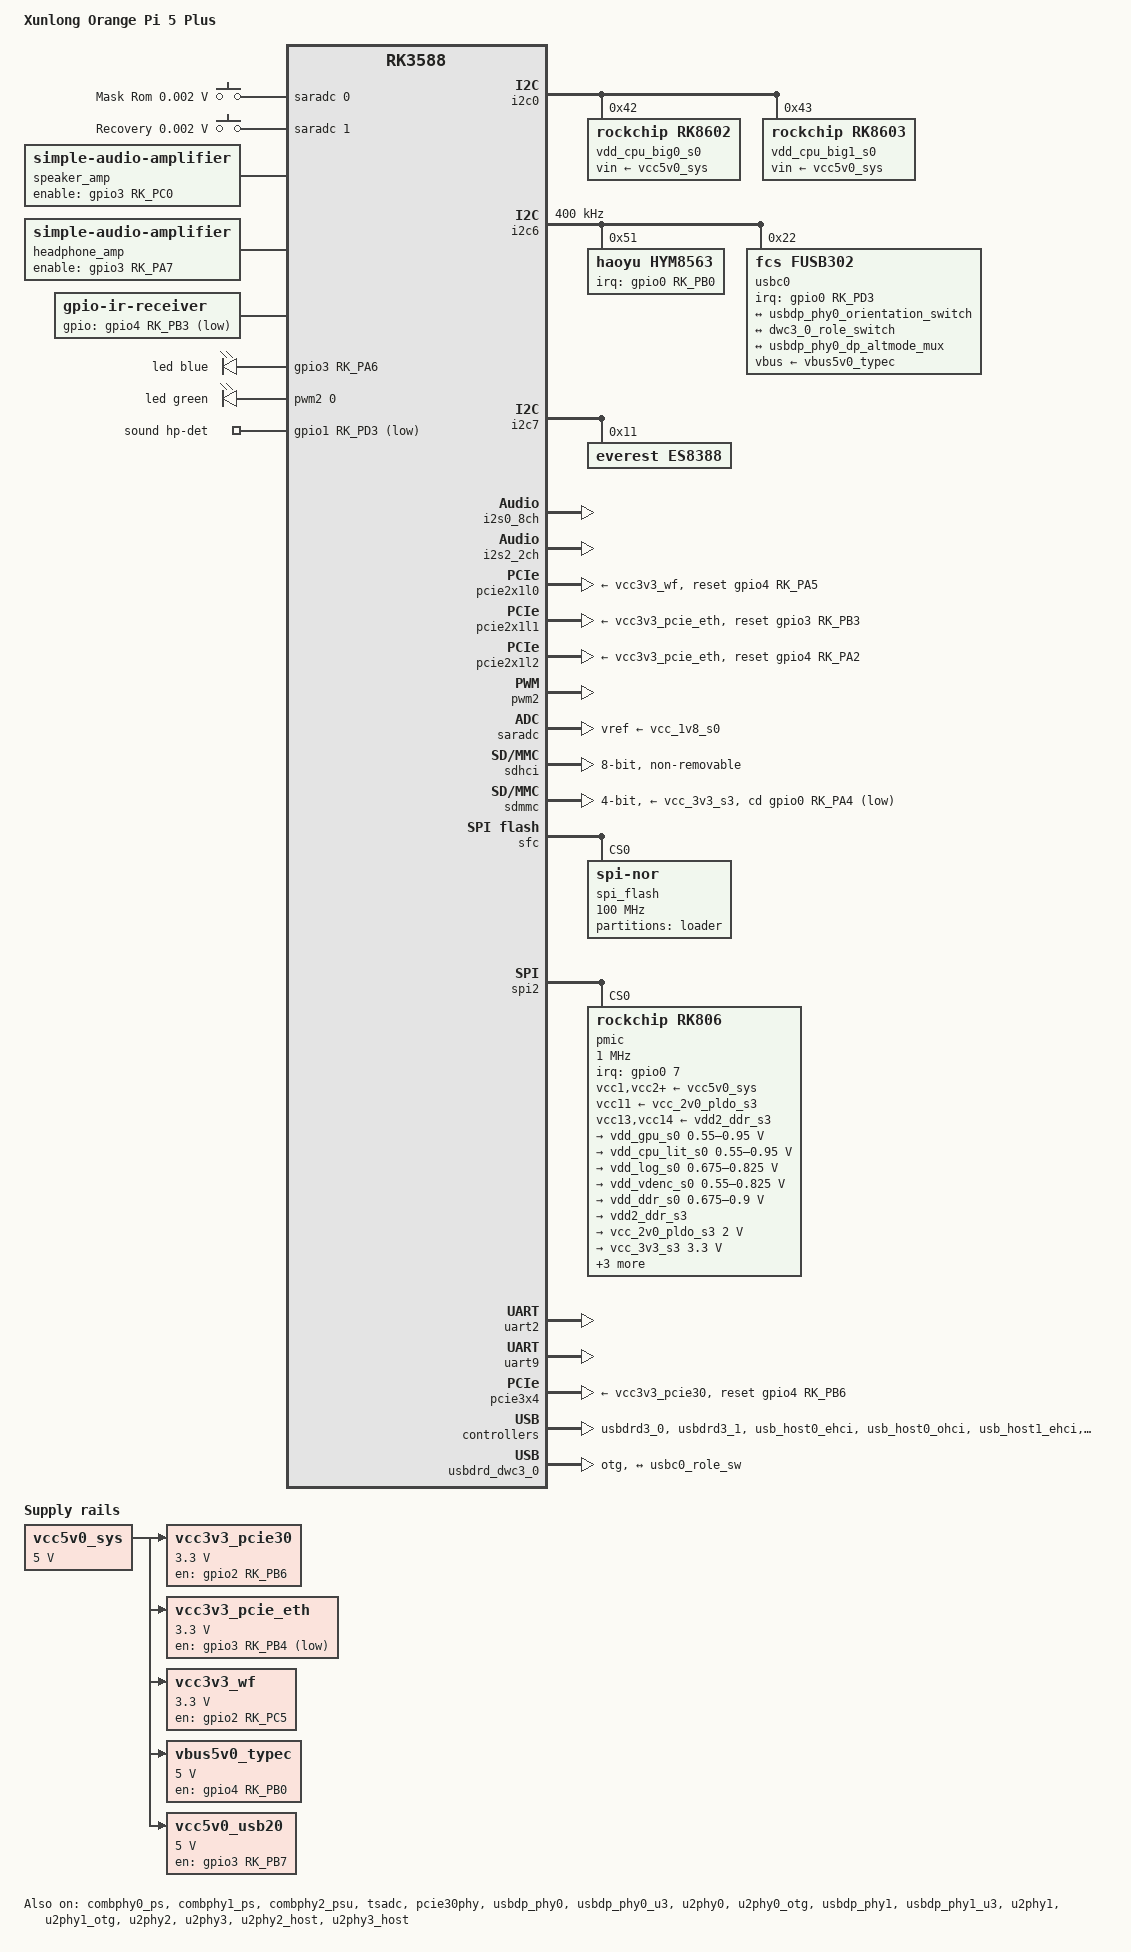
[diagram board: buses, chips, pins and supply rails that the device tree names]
// SPDX-License-Identifier: (GPL-2.0+ OR MIT)
/*
 * Copyright (c) 2023 Ondřej Jirman <megi@xff.cz>
 */

/dts-v1/;

#include <dt-bindings/gpio/gpio.h>
#include <dt-bindings/pinctrl/rockchip.h>
#include <dt-bindings/leds/common.h>
#include <dt-bindings/input/input.h>
#include <dt-bindings/usb/pd.h>
#include "rk3588.dtsi"

/ {
	model = "Xunlong Orange Pi 5 Plus";
	compatible = "xunlong,orangepi-5-plus", "rockchip,rk3588";

	aliases {
		mmc0 = &sdhci;
		mmc1 = &sdmmc;
		serial2 = &uart2;
	};

	chosen {
		stdout-path = "serial2:1500000n8";
	};

	adc-keys-0 {
		compatible = "adc-keys";
		io-channels = <&saradc 0>;
		io-channel-names = "buttons";
		keyup-threshold-microvolt = <1800000>;
		poll-interval = <100>;

		maskrom-key {
			linux,code = <KEY_SETUP>;
			label = "Mask Rom";
			press-threshold-microvolt = <2000>;
		};
	};

	adc-keys-1 {
		compatible = "adc-keys";
		io-channels = <&saradc 1>;
		io-channel-names = "buttons";
		keyup-threshold-microvolt = <1800000>;
		poll-interval = <100>;

		recovery-key {
			linux,code = <KEY_VENDOR>;
			label = "Recovery";
			press-threshold-microvolt = <2000>;
		};
	};

	speaker_amp: speaker-audio-amplifier {
		compatible = "simple-audio-amplifier";
		enable-gpios = <&gpio3 RK_PC0 GPIO_ACTIVE_HIGH>;
		sound-name-prefix = "Speaker Amp";
	};

	headphone_amp: headphones-audio-amplifier {
		compatible = "simple-audio-amplifier";
		enable-gpios = <&gpio3 RK_PA7 GPIO_ACTIVE_HIGH>;
		sound-name-prefix = "Headphones Amp";
	};

	/*XXX: fan */
	/* GPIO3 B2, active high, PWM3_IR_M1 */

	ir-receiver {
		compatible = "gpio-ir-receiver";
		gpios = <&gpio4 RK_PB3 GPIO_ACTIVE_LOW>;
		pinctrl-names = "default";
		pinctrl-0 = <&ir_receiver_pin>;
	};

	gpio-leds {
		compatible = "gpio-leds";
		pinctrl-names = "default";
		pinctrl-0 = <&blue_led_pin>;

		led {
			color = <LED_COLOR_ID_BLUE>;
			function = LED_FUNCTION_INDICATOR;
			gpios = <&gpio3 RK_PA6 GPIO_ACTIVE_HIGH>;
		};
	};

	pwm-leds {
                compatible = "pwm-leds";

                led {
                        color = <LED_COLOR_ID_GREEN>;
                        function = LED_FUNCTION_INDICATOR;
                        max-brightness = <255>;
                        pwms = <&pwm2 0 25000 0>;
                };
        };

	sound {
		compatible = "simple-audio-card";
		pinctrl-names = "default";
		pinctrl-0 = <&hp_detect>;
		simple-audio-card,name = "Analog";
		simple-audio-card,aux-devs = <&speaker_amp>, <&headphone_amp>;
		simple-audio-card,format = "i2s";
		simple-audio-card,mclk-fs = <256>;
		simple-audio-card,hp-det-gpio = <&gpio1 RK_PD3 GPIO_ACTIVE_LOW>;
	        simple-audio-card,bitclock-master = <&daicpu>;
        	simple-audio-card,frame-master = <&daicpu>;
        	/*TODO: SARADC_IN3 is used as MIC detection / key input */

		simple-audio-card,widgets =
			"Microphone", "Onboard Microphone",
			"Microphone", "Microphone Jack",
			"Speaker", "Speaker",
			"Headphone", "Headphones";

		simple-audio-card,routing =
			"Headphones", "LOUT1",
			"Headphones", "ROUT1",
			"Speaker", "LOUT2",
			"Speaker", "ROUT2",

			"Headphones", "Headphones Amp OUTL",
			"Headphones", "Headphones Amp OUTR",
			"Headphones Amp INL", "LOUT1",
			"Headphones Amp INR", "ROUT1",

			"Speaker", "Speaker Amp OUTL",
			"Speaker", "Speaker Amp OUTR",
			"Speaker Amp INL", "LOUT2",
			"Speaker Amp INR", "ROUT2",

			/* single ended signal to LINPUT1 */
			"LINPUT1", "Microphone Jack",
			"RINPUT1", "Microphone Jack",
			/* differential signal */
			"LINPUT2", "Onboard Microphone",
			"RINPUT2", "Onboard Microphone";

		daicpu: simple-audio-card,cpu {
			sound-dai = <&i2s0_8ch>;
			system-clock-frequency = <12288000>;
		};

		daicodec: simple-audio-card,codec {
			sound-dai = <&es8388>;
			system-clock-frequency = <12288000>;
		};
	};

	vcc3v3_pcie30: vcc3v3-pcie30 {
		compatible = "regulator-fixed";
		regulator-name = "vcc3v3_pcie30";
		regulator-min-microvolt = <3300000>;
		regulator-max-microvolt = <3300000>;
		enable-active-high;
		gpios = <&gpio2 RK_PB6 GPIO_ACTIVE_HIGH>;
		startup-delay-us = <5000>;
		vin-supply = <&vcc5v0_sys>;
	};

	vcc3v3_pcie_eth: vcc3v3-pcie-eth {
		compatible = "regulator-fixed";
		regulator-name = "vcc3v3_pcie_eth";
		regulator-min-microvolt = <3300000>;
		regulator-max-microvolt = <3300000>;
		gpios = <&gpio3 RK_PB4 GPIO_ACTIVE_LOW>;
		startup-delay-us = <50000>;
		vin-supply = <&vcc5v0_sys>;
	};

	vcc3v3_wf: vcc3v3-wf {
		compatible = "regulator-fixed";
		regulator-name = "vcc3v3_wf";
		regulator-min-microvolt = <3300000>;
		regulator-max-microvolt = <3300000>;
		enable-active-high;
		gpios = <&gpio2 RK_PC5 GPIO_ACTIVE_HIGH>;
		startup-delay-us = <50000>;
		vin-supply = <&vcc5v0_sys>;
	};

	vcc5v0_sys: vcc5v0-sys-regulator {
		compatible = "regulator-fixed";
		regulator-name = "vcc5v0_sys";
		regulator-always-on;
		regulator-boot-on;
		regulator-min-microvolt = <5000000>;
		regulator-max-microvolt = <5000000>;
	};
};

&combphy0_ps {
	status = "okay";
};

&combphy1_ps {
	status = "okay";
};

&combphy2_psu {
	status = "okay";
};

&cpu_b0 {
	cpu-supply = <&vdd_cpu_big0_s0>;
	mem-supply = <&vdd_cpu_big0_mem_s0>;
};

&cpu_b1 {
	cpu-supply = <&vdd_cpu_big0_s0>;
	mem-supply = <&vdd_cpu_big0_mem_s0>;
};

&cpu_b2 {
	cpu-supply = <&vdd_cpu_big1_s0>;
	mem-supply = <&vdd_cpu_big1_mem_s0>;
};

&cpu_b3 {
	cpu-supply = <&vdd_cpu_big1_s0>;
	mem-supply = <&vdd_cpu_big1_mem_s0>;
};

&cpu_l0 {
	cpu-supply = <&vdd_cpu_lit_s0>;
	mem-supply = <&vdd_cpu_lit_mem_s0>;
};

&cpu_l1 {
	cpu-supply = <&vdd_cpu_lit_s0>;
	mem-supply = <&vdd_cpu_lit_mem_s0>;
};

&cpu_l2 {
	cpu-supply = <&vdd_cpu_lit_s0>;
	mem-supply = <&vdd_cpu_lit_mem_s0>;
};

&cpu_l3 {
	cpu-supply = <&vdd_cpu_lit_s0>;
	mem-supply = <&vdd_cpu_lit_mem_s0>;
};

&i2c0 {
	pinctrl-names = "default";
	pinctrl-0 = <&i2c0m2_xfer>;
	status = "okay";

	vdd_cpu_big0_s0: vdd_cpu_big0_mem_s0: regulator@42 {
		compatible = "rockchip,rk8602";
		reg = <0x42>;
		fcs,suspend-voltage-selector = <1>;
		regulator-name = "vdd_cpu_big0_s0";
		regulator-always-on;
		regulator-boot-on;
		regulator-min-microvolt = <550000>;
		regulator-max-microvolt = <1050000>;
		regulator-ramp-delay = <2300>;
		vin-supply = <&vcc5v0_sys>;

		regulator-state-mem {
			regulator-off-in-suspend;
		};
	};

	vdd_cpu_big1_s0: vdd_cpu_big1_mem_s0: regulator@43 {
		compatible = "rockchip,rk8603", "rockchip,rk8602";
		reg = <0x43>;
		fcs,suspend-voltage-selector = <1>;
		regulator-name = "vdd_cpu_big1_s0";
		regulator-always-on;
		regulator-boot-on;
		regulator-min-microvolt = <550000>;
		regulator-max-microvolt = <1050000>;
		regulator-ramp-delay = <2300>;
		vin-supply = <&vcc5v0_sys>;

		regulator-state-mem {
			regulator-off-in-suspend;
		};
	};
};

&i2c6 {
	clock-frequency = <400000>;
	status = "okay";
	
	hym8563: rtc@51 {
		compatible = "haoyu,hym8563";
		reg = <0x51>;
		#clock-cells = <0>;
		clock-output-names = "hym8563";
		pinctrl-names = "default";
		pinctrl-0 = <&hym8563_int>;
		interrupt-parent = <&gpio0>;
		interrupts = <RK_PB0 IRQ_TYPE_LEVEL_LOW>;
		wakeup-source;
	};
};

&i2c7 {
	status = "okay";
	/* PLDO2 vcca 1.8V, BUCK8 gated by PLDO2 being enabled */
	es8388: audio-codec@11 {
		compatible = "everest,es8388";
		reg = <0x11>;
		clocks = <&cru I2S0_8CH_MCLKOUT>;
		clock-names = "mclk";
		assigned-clocks = <&cru I2S0_8CH_MCLKOUT>;
		assigned-clock-rates = <12288000>;
		#sound-dai-cells = <0>;
	};
};

&i2s0_8ch {
	pinctrl-names = "default";
	pinctrl-0 = <&i2s0_lrck
		     &i2s0_mclk
		     &i2s0_sclk
		     &i2s0_sdi0
		     &i2s0_sdo0>;
	status = "okay";
};

&i2s2_2ch {
	pinctrl-names = "default";
	pinctrl-0 = <&i2s2m0_lrck
		     &i2s2m0_sclk
		     &i2s2m0_sdi
		     &i2s2m0_sdo>;
	status = "okay";
};

/* phy1 - M.KEY socket */
&pcie2x1l0 {
	reset-gpios = <&gpio4 RK_PA5 GPIO_ACTIVE_HIGH>;
	vpcie3v3-supply = <&vcc3v3_wf>;
	status = "okay";
};

/* phy2 - right ethernet port */
&pcie2x1l1 {
	reset-gpios = <&gpio3 RK_PB3 GPIO_ACTIVE_HIGH>;
	vpcie3v3-supply = <&vcc3v3_pcie_eth>;
	status = "okay";
};

/* phy0 - left ethernet port */
&pcie2x1l2 {
	reset-gpios = <&gpio4 RK_PA2 GPIO_ACTIVE_HIGH>;
	vpcie3v3-supply = <&vcc3v3_pcie_eth>;
	status = "okay";
};

&pinctrl {
	leds {
		blue_led_pin: blue-led {
		        rockchip,pins = <3 RK_PA6 RK_FUNC_GPIO &pcfg_pull_up>;
		};
	};

	hym8563 {
		hym8563_int: hym8563-int {
			rockchip,pins = <0 RK_PB0 RK_FUNC_GPIO &pcfg_pull_none>;
		};
	};

	sound {
		hp_detect: hp-detect {
			rockchip,pins = <1 RK_PD3 RK_FUNC_GPIO &pcfg_pull_none>;
		};
	};

	ir-receiver {
		ir_receiver_pin: ir-receiver-pin {
			rockchip,pins = <4 RK_PB3 RK_FUNC_GPIO &pcfg_pull_none>;
		};
	};
};

&pwm2 {
	status = "okay";
	pinctrl-0 = <&pwm2m1_pins>;
	pinctrl-names = "default";
};

&saradc {
	status = "okay";
	vref-supply = <&vcc_1v8_s0>;
};

&sdhci {
	bus-width = <8>;
	no-sdio;
	no-sd;
	non-removable;
	max-frequency = <200000000>;
	mmc-hs400-1_8v;
	mmc-hs400-enhanced-strobe;
	status = "okay";
};

&sdmmc {
	bus-width = <4>;
	cap-sd-highspeed;
	cd-gpios = <&gpio0 RK_PA4 GPIO_ACTIVE_LOW>;
	disable-wp;
	max-frequency = <150000000>;
	no-sdio;
	no-mmc;
	sd-uhs-sdr104;
	vmmc-supply = <&vcc_3v3_s3>;
	vqmmc-supply = <&vccio_sd_s0>;
	status = "okay";
};

&sfc {
	max-freq = <100000000>;
	pinctrl-names = "default";
	pinctrl-0 = <&fspim1_pins>;
	#address-cells = <1>;
	#size-cells = <0>;
	status = "okay";

	spi_flash: spi-flash@0 {
		#address-cells = <1>;
		#size-cells = <0>;
		compatible = "jedec,spi-nor";
		reg = <0x0>;
		spi-max-frequency = <100000000>;
		spi-tx-bus-width = <1>;
		spi-rx-bus-width = <4>;

		partitions {
			compatible = "fixed-partitions";
			#address-cells = <1>;
			#size-cells = <1>;

			loader@0 {
				label = "loader";
				reg = <0x0 0x1000000>;
			};
		};
	};
};

&spi2 {
	status = "okay";
	assigned-clocks = <&cru CLK_SPI2>;
	assigned-clock-rates = <200000000>;
	pinctrl-names = "default";
	pinctrl-0 = <&spi2m2_cs0 &spi2m2_pins>;
	num-cs = <1>;

	pmic@0 {
		compatible = "rockchip,rk806";
		spi-max-frequency = <1000000>;
		reg = <0x0>;

		interrupt-parent = <&gpio0>;
		interrupts = <7 IRQ_TYPE_LEVEL_LOW>;

		pinctrl-names = "default";
		pinctrl-0 = <&pmic_pins>, <&rk806_dvs1_null>,
			    <&rk806_dvs2_null>, <&rk806_dvs3_null>;

		vcc1-supply = <&vcc5v0_sys>;
		vcc2-supply = <&vcc5v0_sys>;
		vcc3-supply = <&vcc5v0_sys>;
		vcc4-supply = <&vcc5v0_sys>;
		vcc5-supply = <&vcc5v0_sys>;
		vcc6-supply = <&vcc5v0_sys>;
		vcc7-supply = <&vcc5v0_sys>;
		vcc8-supply = <&vcc5v0_sys>;
		vcc9-supply = <&vcc5v0_sys>;
		vcc10-supply = <&vcc5v0_sys>;
		vcc11-supply = <&vcc_2v0_pldo_s3>;
		vcc12-supply = <&vcc5v0_sys>;
		vcc13-supply = <&vdd2_ddr_s3>;
		vcc14-supply = <&vdd2_ddr_s3>;
		vcca-supply = <&vcc5v0_sys>;

		gpio-controller;
		#gpio-cells = <2>;
		
		rockchip,system-power-controller;

		rk806_dvs1_null: dvs1-null-pins {
			pins = "gpio_pwrctrl2";
			function = "pin_fun0";
		};

		rk806_dvs2_null: dvs2-null-pins {
			pins = "gpio_pwrctrl2";
			function = "pin_fun0";
		};

		rk806_dvs3_null: dvs3-null-pins {
			pins = "gpio_pwrctrl3";
			function = "pin_fun0";
		};

		regulators {
			vdd_gpu_s0: vdd_gpu_mem_s0: dcdc-reg1 {
				regulator-boot-on;
				regulator-min-microvolt = <550000>;
				regulator-max-microvolt = <950000>;
				regulator-ramp-delay = <12500>;
				regulator-name = "vdd_gpu_s0";
				regulator-enable-ramp-delay = <400>;

				regulator-state-mem {
					regulator-off-in-suspend;
				};
			};

			vdd_cpu_lit_s0: vdd_cpu_lit_mem_s0: dcdc-reg2 {
				regulator-always-on;
				regulator-boot-on;
				regulator-min-microvolt = <550000>;
				regulator-max-microvolt = <950000>;
				regulator-ramp-delay = <12500>;
				regulator-name = "vdd_cpu_lit_s0";

				regulator-state-mem {
					regulator-off-in-suspend;
				};
			};

			vdd_log_s0: dcdc-reg3 {
				regulator-always-on;
				regulator-boot-on;
				regulator-min-microvolt = <675000>;
				regulator-max-microvolt = <825000>;
				regulator-init-microvolt = <750000>;
				regulator-ramp-delay = <12500>;
				regulator-name = "vdd_log_s0";

				regulator-state-mem {
					regulator-off-in-suspend;
					regulator-suspend-microvolt = <750000>;
				};
			};

			vdd_vdenc_s0: vdd_vdenc_mem_s0: dcdc-reg4 {
				regulator-always-on;
				regulator-boot-on;
				regulator-min-microvolt = <550000>;
				regulator-max-microvolt = <825000>;
				regulator-init-microvolt = <775000>;
				regulator-ramp-delay = <12500>;
				regulator-name = "vdd_vdenc_s0";

				regulator-state-mem {
					regulator-off-in-suspend;
				};
			};

			vdd_ddr_s0: dcdc-reg5 {
				regulator-always-on;
				regulator-boot-on;
				regulator-min-microvolt = <675000>;
				regulator-max-microvolt = <900000>;
				regulator-init-microvolt = <850000>;
				regulator-ramp-delay = <12500>;
				regulator-name = "vdd_ddr_s0";

				regulator-state-mem {
					regulator-off-in-suspend;
					regulator-suspend-microvolt = <850000>;
				};
			};

			vdd2_ddr_s3: dcdc-reg6 {
				regulator-always-on;
				regulator-boot-on;
				regulator-name = "vdd2_ddr_s3";

				regulator-state-mem {
					regulator-on-in-suspend;
				};
			};

			vcc_2v0_pldo_s3: dcdc-reg7 {
				regulator-always-on;
				regulator-boot-on;
				regulator-min-microvolt = <2000000>;
				regulator-max-microvolt = <2000000>;
				regulator-ramp-delay = <12500>;
				regulator-name = "vdd_2v0_pldo_s3";

				regulator-state-mem {
					regulator-on-in-suspend;
					regulator-suspend-microvolt = <2000000>;
				};
			};

			vcc_3v3_s3: dcdc-reg8 {
				regulator-always-on;
				regulator-boot-on;
				regulator-min-microvolt = <3300000>;
				regulator-max-microvolt = <3300000>;
				regulator-name = "vcc_3v3_s3";

				regulator-state-mem {
					regulator-on-in-suspend;
					regulator-suspend-microvolt = <3300000>;
				};
			};

			vddq_ddr_s0: dcdc-reg9 {
				regulator-always-on;
				regulator-boot-on;
				regulator-name = "vddq_ddr_s0";

				regulator-state-mem {
					regulator-off-in-suspend;
				};
			};

			vcc_1v8_s3: dcdc-reg10 {
				regulator-always-on;
				regulator-boot-on;
				regulator-min-microvolt = <1800000>;
				regulator-max-microvolt = <1800000>;
				regulator-name = "vcc_1v8_s3";

				regulator-state-mem {
					regulator-on-in-suspend;
					regulator-suspend-microvolt = <1800000>;
				};
			};

			avcc_1v8_s0: pldo-reg1 {
				regulator-always-on;
				regulator-boot-on;
				regulator-min-microvolt = <1800000>;
				regulator-max-microvolt = <1800000>;
				regulator-name = "avcc_1v8_s0";

				regulator-state-mem {
					regulator-off-in-suspend;
				};
			};

			vcc_1v8_s0: pldo-reg2 {
				regulator-always-on;
				regulator-boot-on;
				regulator-min-microvolt = <1800000>;
				regulator-max-microvolt = <1800000>;
				regulator-name = "vcc_1v8_s0";

				regulator-state-mem {
					regulator-off-in-suspend;
					regulator-suspend-microvolt = <1800000>;
				};
			};

			avdd_1v2_s0: pldo-reg3 {
				regulator-always-on;
				regulator-boot-on;
				regulator-min-microvolt = <1200000>;
				regulator-max-microvolt = <1200000>;
				regulator-name = "avdd_1v2_s0";

				regulator-state-mem {
					regulator-off-in-suspend;
				};
			};

			vcc_3v3_s0: pldo-reg4 {
				regulator-always-on;
				regulator-boot-on;
				regulator-min-microvolt = <3300000>;
				regulator-max-microvolt = <3300000>;
				regulator-ramp-delay = <12500>;
				regulator-name = "vcc_3v3_s0";

				regulator-state-mem {
					regulator-off-in-suspend;
				};
			};

			vccio_sd_s0: pldo-reg5 {
				regulator-always-on;
				regulator-boot-on;
				regulator-min-microvolt = <1800000>;
				regulator-max-microvolt = <3300000>;
				regulator-ramp-delay = <12500>;
				regulator-name = "vccio_sd_s0";

				regulator-state-mem {
					regulator-off-in-suspend;
				};
			};

			/*XXX: missing? */
			pldo6_s3: pldo-reg6 {
				regulator-always-on;
				regulator-boot-on;
				regulator-min-microvolt = <1800000>;
				regulator-max-microvolt = <1800000>;
				regulator-name = "pldo6_s3";

				regulator-state-mem {
					regulator-on-in-suspend;
					regulator-suspend-microvolt = <1800000>;
				};
			};

			vdd_0v75_s3: nldo-reg1 {
				regulator-always-on;
				regulator-boot-on;
				regulator-min-microvolt = <750000>;
				regulator-max-microvolt = <750000>;
				regulator-name = "vdd_0v75_s3";

				regulator-state-mem {
					regulator-on-in-suspend;
					regulator-suspend-microvolt = <750000>;
				};
			};

			vdd_ddr_pll_s0: nldo-reg2 {
				regulator-always-on;
				regulator-boot-on;
				regulator-min-microvolt = <850000>;
				regulator-max-microvolt = <850000>;
				regulator-name = "vdd_ddr_pll_s0";

				regulator-state-mem {
					regulator-off-in-suspend;
					regulator-suspend-microvolt = <850000>;
				};
			};

			avdd_0v75_s0: nldo-reg3 {
				regulator-always-on;
				regulator-boot-on;
				/*
				 * The schematic mentions that actual setting
				 * should be 0.8375V. RK3588 datasheet specifies
				 * maximum as 0.825V. So we set datasheet max
				 * here.
				 */
				regulator-min-microvolt = <825000>;
				regulator-max-microvolt = <825000>;
				regulator-name = "avdd_0v75_s0";

				regulator-state-mem {
					regulator-off-in-suspend;
				};
			};

			vdd_0v85_s0: nldo-reg4 {
				regulator-always-on;
				regulator-boot-on;
				regulator-min-microvolt = <850000>;
				regulator-max-microvolt = <850000>;
				regulator-name = "vdd_0v85_s0";

				regulator-state-mem {
					regulator-off-in-suspend;
				};
			};

			vdd_0v75_s0: nldo-reg5 {
				regulator-always-on;
				regulator-boot-on;
				regulator-min-microvolt = <750000>;
				regulator-max-microvolt = <750000>;
				regulator-name = "vdd_0v75_s0";

				regulator-state-mem {
					regulator-off-in-suspend;
				};
			};
		};
	};
};

&tsadc {
	status = "okay";
};

&uart2 {
	pinctrl-0 = <&uart2m0_xfer>;
	status = "okay";
};

&uart9 {
	pinctrl-0 = <&uart9m0_xfer>;
	status = "okay";
};

/* PCIe 3.0 */

&pcie30phy {
	status = "okay";
};

&pcie3x4 {
	reset-gpios = <&gpio4 RK_PB6 GPIO_ACTIVE_HIGH>;
	vpcie3v3-supply = <&vcc3v3_pcie30>;
	status = "okay";
};

/* USB 3.0 Type-C port */

/ {

        vbus5v0_typec: vbus5v0-typec {
                compatible = "regulator-fixed";
                regulator-name = "vbus5v0_typec";
                regulator-min-microvolt = <5000000>;
                regulator-max-microvolt = <5000000>;
                enable-active-high;
                gpio = <&gpio4 RK_PB0 GPIO_ACTIVE_HIGH>;
                pinctrl-names = "default";
                pinctrl-0 = <&typec5v_pwren>;
                vin-supply = <&vcc5v0_sys>;
        };
};

&usbdp_phy0 {
	orientation-switch;
	mode-switch;
	sbu1-dc-gpios = <&gpio4 RK_PA6 GPIO_ACTIVE_HIGH>;
	sbu2-dc-gpios = <&gpio4 RK_PA7 GPIO_ACTIVE_HIGH>;
	status = "okay";
        svid = <0xff01>;

	port {
		#address-cells = <1>;
		#size-cells = <0>;

		usbdp_phy0_orientation_switch: endpoint@0 {
			reg = <0>;
			remote-endpoint = <&usbc0_orien_sw>;
		};

		usbdp_phy0_dp_altmode_mux: endpoint@1 {
			reg = <1>;
			remote-endpoint = <&dp_altmode_mux>;
		};
	};
};

&usbdp_phy0_u3 {
	status = "okay";
};

&usbdrd3_0 {
	status = "okay";
};

&usbdrd_dwc3_0 {
	dr_mode = "otg";
	usb-role-switch;

	port {
		#address-cells = <1>;
		#size-cells = <0>;
		dwc3_0_role_switch: endpoint@0 {
			reg = <0>;
			remote-endpoint = <&usbc0_role_sw>;
		};
	};
};

&u2phy0 {
	status = "okay";
};

&u2phy0_otg {
	status = "okay";
};

&i2c6 {
	usbc0: usb-typec@22 {
		compatible = "fcs,fusb302";
		reg = <0x22>;
                interrupt-parent = <&gpio0>;
                interrupts = <RK_PD3 IRQ_TYPE_LEVEL_LOW>;
		pinctrl-names = "default";
		pinctrl-0 = <&usbc0_int>;
		vbus-supply = <&vbus5v0_typec>;

		usb_con: connector {
			compatible = "usb-c-connector";
			label = "USB-C";
			data-role = "dual";
			power-role = "dual";
			try-power-role = "source";
			op-sink-microwatt = <1000000>;
			sink-pdos = <PDO_FIXED(5000, 2000, PDO_FIXED_USB_COMM)>;
			source-pdos = <PDO_FIXED(5000, 1500, PDO_FIXED_USB_COMM)>;

			/*
			altmodes {
                                #address-cells = <1>;
                                #size-cells = <0>;

                                altmode@0 {
                                        reg = <0>;
                                        svid = <0xff01>;
                                        vdo = <0xffffffff>; // yeah, no, this is nonsense
                                };
                        };
                        */

			ports {
				#address-cells = <1>;
				#size-cells = <0>;

				port@0 {
					reg = <0>;
					usbc0_orien_sw: endpoint {
						remote-endpoint = <&usbdp_phy0_orientation_switch>;
					};
				};

				port@1 {
					reg = <1>;
					usbc0_role_sw: endpoint {
						remote-endpoint = <&dwc3_0_role_switch>;
					};
				};

				port@2 {
					reg = <2>;
					dp_altmode_mux: endpoint {
						remote-endpoint = <&usbdp_phy0_dp_altmode_mux>;
					};
				};
			};
		};
	};
};

/* USB 3.0 A ports */

&usbdp_phy1 {
	//XXX: there's no DP on this port, so maybe this is not needed?
	//rockchip,dp-lane-mux = <2 3>;
	status = "okay";
};

&usbdp_phy1_u3 {
	status = "okay";
};

&usbdrd3_1 {
	status = "okay";
};

&u2phy1 {
	status = "okay";
};

&u2phy1_otg {
	status = "okay";
};

/* USB2.0 A ports */

/ {
	vcc5v0_usb20: vcc5v0-usb20 {
		compatible = "regulator-fixed";
		regulator-name = "vcc5v0_usb20";
		regulator-min-microvolt = <5000000>;
		regulator-max-microvolt = <5000000>;
		enable-active-high;
		gpio = <&gpio3 RK_PB7 GPIO_ACTIVE_HIGH>;
		pinctrl-names = "default";
		pinctrl-0 = <&vcc5v0_usb20_en>;
		vin-supply = <&vcc5v0_sys>;
	};
};

&u2phy2 {
	status = "okay";
};

&u2phy3 {
	status = "okay";
};

&u2phy2_host {
	phy-supply = <&vcc5v0_usb20>;
	status = "okay";
};

&u2phy3_host {
	phy-supply = <&vcc5v0_usb20>;
	status = "okay";
};

&usb_host0_ehci {
	status = "okay";
};

&usb_host0_ohci {
	status = "okay";
};

&usb_host1_ehci {
	status = "okay";
};

&usb_host1_ohci {
	status = "okay";
};

&pinctrl {
	usb {
		vcc5v0_usb20_en: vcc5v0-usb20-en {
			rockchip,pins = <3 RK_PB7 RK_FUNC_GPIO &pcfg_pull_none>;
		};
	};

        usb-typec {
                usbc0_int: usbc0-int {
                        rockchip,pins = <0 RK_PD3 RK_FUNC_GPIO &pcfg_pull_up>;
                };

                typec5v_pwren: typec5v-pwren {
                        rockchip,pins = <4 RK_PB0 RK_FUNC_GPIO &pcfg_pull_none>;
                };
        };
};

/* unused */

		/*
		rk806_dvs1_slp: rk806_dvs1_slp {
			pins = "gpio_pwrctrl1";
			function = "pin_fun1";
		};

		rk806_dvs1_pwrdn: rk806_dvs1_pwrdn {
			pins = "gpio_pwrctrl1";
			function = "pin_fun2";
		};

		rk806_dvs1_rst: rk806_dvs1_rst {
			pins = "gpio_pwrctrl1";
			function = "pin_fun3";
		};

		rk806_dvs2_slp: rk806_dvs2_slp {
			pins = "gpio_pwrctrl2";
			function = "pin_fun1";
		};

		rk806_dvs2_pwrdn: rk806_dvs2_pwrdn {
			pins = "gpio_pwrctrl2";
			function = "pin_fun2";
		};

		rk806_dvs2_rst: rk806_dvs2_rst {
			pins = "gpio_pwrctrl2";
			function = "pin_fun3";
		};

		rk806_dvs2_dvs: rk806_dvs2_dvs {
			pins = "gpio_pwrctrl2";
			function = "pin_fun4";
		};

		rk806_dvs2_gpio: rk806_dvs2_gpio {
			pins = "gpio_pwrctrl2";
			function = "pin_fun5";
		};

		rk806_dvs3_slp: rk806_dvs3_slp {
			pins = "gpio_pwrctrl3";
			function = "pin_fun1";
		};

		rk806_dvs3_pwrdn: rk806_dvs3_pwrdn {
			pins = "gpio_pwrctrl3";
			function = "pin_fun2";
		};

		rk806_dvs3_rst: rk806_dvs3_rst {
			pins = "gpio_pwrctrl3";
			function = "pin_fun3";
		};

		rk806_dvs3_dvs: rk806_dvs3_dvs {
			pins = "gpio_pwrctrl3";
			function = "pin_fun4";
		};

		rk806_dvs3_gpio: rk806_dvs3_gpio {
			pins = "gpio_pwrctrl3";
			function = "pin_fun5";
		};

			avdd_0v75_s0: nldo-reg3 {
				//regulator-min-microvolt = <837500>;
				//regulator-max-microvolt = <837500>;

		*/

	//XXX: there is no such regulator, SD voltage comes from BUCK8
/*
	vcc_3v3_sd_s0: vcc-3v3-sd-s0 {
		compatible = "regulator-fixed";
		regulator-name = "vcc_3v3_sd_s0";
		regulator-min-microvolt = <3300000>;
		regulator-max-microvolt = <3300000>;
		gpios = <&gpio3 RK_PD5 GPIO_ACTIVE_LOW>; // unused, unconnected
		pinctrl-names = "default";
		pinctrl-0 = <&sdmmc_pwr>;
	};
*/

/*
&pcie2x1l0 {
	// 4 a1 wake / 4 a0 clkreq
};

&pcie2x1l1 {
	// gpio4 a4 wake /  gpio4 a3 clkreq
};

&pcie2x1l2 {
	// gpio3 d0 wake / 3 c7 clkreq
};

&pcie3x4 {
	// 4 b5 wake / 4 b4 clkreq
};

	sdmmc {
		sdmmc_pwr: sdmmc_pwr {
			rockchip,pins = <3 RK_PD5 RK_FUNC_GPIO &pcfg_pull_down>;
		};
	};
*/

